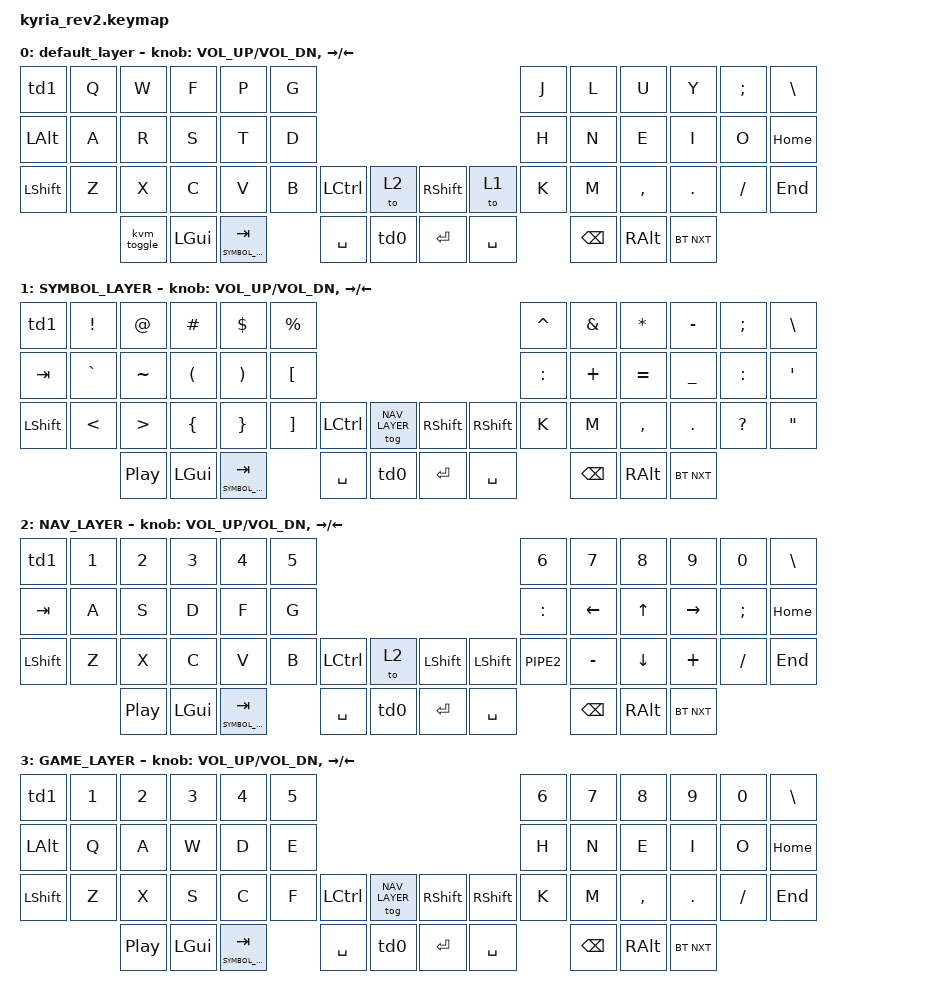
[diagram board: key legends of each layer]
/*
 * Copyright (c) 2020 The ZMK Contributors
 *
 * SPDX-License-Identifier: MIT
 */

#include <behaviors.dtsi>
#include <dt-bindings/zmk/bt.h>
#include <dt-bindings/zmk/keys.h>

#define DEFAULT 0
#define SYMBOL_LAYER 1
#define NAV_LAYER 2
#define GAME_LAYER 3

/ {
    behaviors {
        td0: tap_dace_0 {
            compatible = "zmk,behavior-tap-dance";
            label = "TAP_DANCE_0";
            #binding-cells = <0>;
            tapping-term-ms = <150>;
            bindings = <&kp LSHFT>, <&kp CAPS>;
        };

        td1: tap_dance_1 {
            compatible = "zmk,behavior-tap-dance";
            label = "TAP_DANCE_1";
            #binding-cells = <0>;
            tapping-term-ms = <150>;
            bindings = <&kp ESC>, <&tog GAME_LAYER>;
        };
    };

    macros {
        kvm_toggle: kvm_toggle {
            compatible = "zmk,behavior-macro";
            #binding-cells = <0>;
            bindings = <&kp LEFT_CONTROL &key_repeat &kp N0>;
            label = "KVM_TOGGLE";
        };
    };

    keymap {
        compatible = "zmk,keymap";

        default_layer {
            // ---------------------------------------------------------------------------------------------------------------------------------
            // |  ESC  |  Q  |  W  |  F   |  P   |  G   |                                          |  J   |  L    |  U    |  Y   |   ;   |   \     |
            // |  LALT  |  A  |  R  |  S   |  T   |  D   |                                          |  H   |  N    |  E    |  I   |   O   |   Home  |
            // | SHIFT |  Z  |  X  |  C   |  V   |  B   | Ctrl | NAV     |  | R SHIFT | R SHIFT |  K   |  M    |  ,    |  .   |   /   | End	   |
            //                     | C_PP  | GUI  | TAB  |  SPACE  |   L SHIFT  |  |   RET   |  SPACE  | BSPC  | RALT  | BT_NXT |

            bindings = <
&td1       &kp Q  &kp W        &kp F     &kp P                 &kp G                                          &kp J  &kp L     &kp U      &kp Y       &kp SEMI  &kp BSLH
&kp LALT   &kp A  &kp R        &kp S     &kp T                 &kp D                                          &kp H  &kp N     &kp E      &kp I       &kp O     &kp HOME
&kp LSHFT  &kp Z  &kp X        &kp C     &kp V                 &kp B  &kp LCTRL  &to 2  &kp RSHFT  &to 1      &kp K  &kp M     &kp COMMA  &kp DOT     &kp FSLH  &kp END
                  &kvm_toggle  &kp LGUI  &lt SYMBOL_LAYER TAB         &kp SPACE  &td0   &kp RET    &kp SPACE         &kp BSPC  &kp RALT   &bt BT_NXT
            >;

            sensor-bindings = <&inc_dec_kp C_VOL_UP C_VOL_DN &inc_dec_kp RIGHT LEFT>;
        };

        SYMBOL_LAYER {
            // ---------------------------------------------------------------------------------------------------------------------------------
            // |  ESC  |  !  |  @  |  #   |  $   |  %   |                                          |  ^   |  &    |  *    |  -   |   ;   |   \  |
            // |  TAB  |  `  |  ~  |  {   |  (   |  [   |                                          |  :   |  +    |  =    |  _   |   :   |   '  |
            // | SHIFT |  <  |  >  |  }   |  )   |  ]   | Ctrl    | NAV     |  | R SHIFT | R SHIFT |  K   |  M    |  ,    |  .   |   ?   | "  |
            //                     | C_PP  | GUI | TAB  |  SPACE  |   LSHIFT  |  |   RET   |  SPACE  | BSPC  | RALT  | BT_NXT |

            bindings = <
&td1       &kp EXCL   &kp AT     &kp HASH              &kp DLLR               &kp PERCENT                                                   &kp CARET  &kp AMPS  &kp ASTRK  &kp MINUS   &kp SEMI   &kp BSLH
&kp TAB    &kp GRAVE  &kp TILDE  &kp LEFT_PARENTHESIS  &kp RIGHT_PARENTHESIS  &kp LBKT                                                      &kp COLON  &kp PLUS  &kp EQUAL  &kp UNDER   &kp COLON  &kp SQT
&kp LSHFT  &kp LT     &kp GT     &kp LEFT_BRACE        &kp RIGHT_BRACE        &kp RBKT     &kp LCTRL  &tog NAV_LAYER  &kp RSHFT  &kp RSHFT  &kp K      &kp M     &kp COMMA  &kp DOT     &kp QMARK  &kp DQT
                      &kp C_PP   &kp LGUI              &lt SYMBOL_LAYER TAB                &kp SPACE  &td0            &kp RET    &kp SPACE             &kp BSPC  &kp RALT   &bt BT_NXT
            >;

            sensor-bindings = <&inc_dec_kp C_VOL_UP C_VOL_DN &inc_dec_kp RIGHT LEFT>;
        };

        NAV_LAYER {
            // ---------------------------------------------------------------------------------------------------------------------------------
            // |  ESC  |  1  |  2  |  3   |  4   |  5   |                                          |  6   |  7    |  8    |  9   |   0   |   \  |
            // |  TAB  |  `  |  ~  |  {   |  (   |  [   |                                          |  :   |  LEFT |  UP   |RIGHT |   ;   | Home |
            // | SHIFT |  <  |  >  |  }   |  )   |  ]   | L SHIFT | NAV     |  | L SHIFT | L SHIFT |  |   |  -    |  DOWN |  +   |   /   | End  |
            //                     | C_PP  | GUI  | RET  |  SPACE  |   Ctrl  |  |   RET   |  SPACE  | TAB  | BSPC  | R-ALT |

            bindings = <
&td1       &kp N1  &kp N2    &kp N3    &kp N4                &kp N5                                          &kp N6     &kp N7     &kp N8    &kp N9      &kp N0    &kp BSLH
&kp TAB    &kp A   &kp S     &kp D     &kp F                 &kp G                                           &kp COLON  &kp LEFT   &kp UP    &kp RIGHT   &kp SEMI  &kp HOME
&kp LSHFT  &kp Z   &kp X     &kp C     &kp V                 &kp B   &kp LCTRL  &to 2  &kp LSHFT  &kp LSHFT  &kp PIPE2  &kp MINUS  &kp DOWN  &kp PLUS    &kp FSLH  &kp END
                   &kp C_PP  &kp LGUI  &lt SYMBOL_LAYER TAB          &kp SPACE  &td0   &kp RET    &kp SPACE             &kp BSPC   &kp RALT  &bt BT_NXT
            >;

            sensor-bindings = <&inc_dec_kp C_VOL_UP C_VOL_DN &inc_dec_kp RIGHT LEFT>;
        };

        GAME_LAYER {
            // ---------------------------------------------------------------------------------------------------------------------------------
            // |  ESC  |  1  |  2  |  3   |  4   |  5   |                                          |  6   |  7    |  8    |  9   |   0   |   \     |
            // |  LALT  |  Q  |  A  |  W   |  D   |  E   |                                          |  H   |  N    |  E    |  I   |   O   |   Home  |
            // | SHIFT |  Z  |  X  |  S   |  C   |  F   | Ctrl | NAV     |  | R SHIFT | R SHIFT |  K   |  M    |  ,    |  .   |   /   | End	   |
            //                     | C_PP  | GUI  | TAB  |  SPACE  |   L SHIFT  |  |   RET   |  SPACE  | BSPC  | RALT  | BT_NXT |

            bindings = <
&td1       &kp N1  &kp N2    &kp N3    &kp N4                &kp N5                                                   &kp N6  &kp N7    &kp N8     &kp N9      &kp N0    &kp BSLH
&kp LALT   &kp Q   &kp A     &kp W     &kp D                 &kp E                                                    &kp H   &kp N     &kp E      &kp I       &kp O     &kp HOME
&kp LSHFT  &kp Z   &kp X     &kp S     &kp C                 &kp F   &kp LCTRL  &tog NAV_LAYER  &kp RSHFT  &kp RSHFT  &kp K   &kp M     &kp COMMA  &kp DOT     &kp FSLH  &kp END
                   &kp C_PP  &kp LGUI  &lt SYMBOL_LAYER TAB          &kp SPACE  &td0            &kp RET    &kp SPACE          &kp BSPC  &kp RALT   &bt BT_NXT
            >;

            sensor-bindings = <&inc_dec_kp C_VOL_UP C_VOL_DN &inc_dec_kp RIGHT LEFT>;
        };
    };
};
